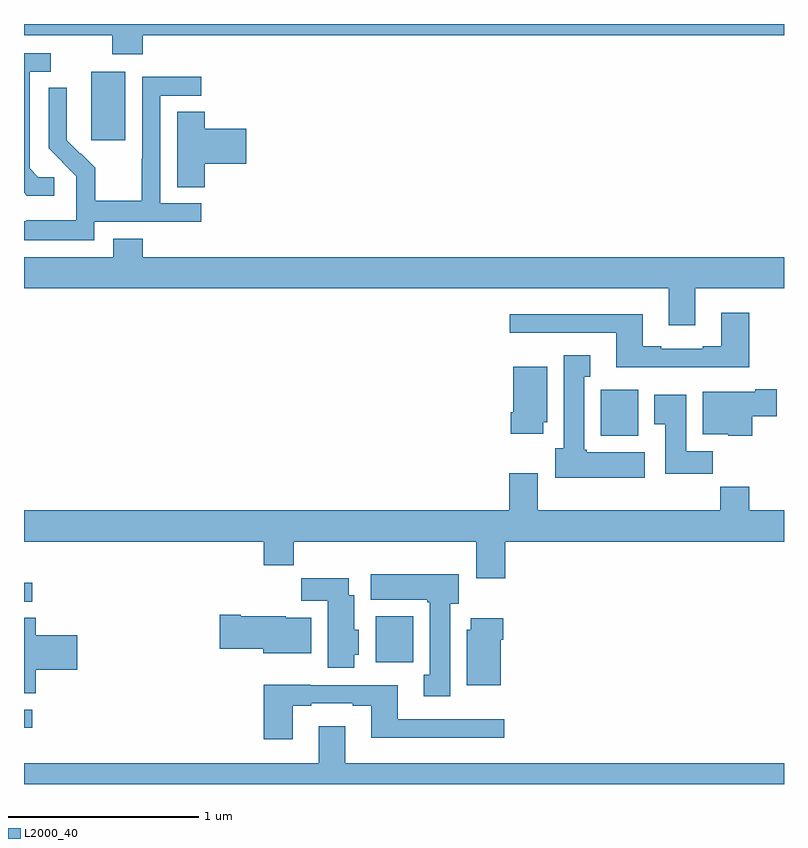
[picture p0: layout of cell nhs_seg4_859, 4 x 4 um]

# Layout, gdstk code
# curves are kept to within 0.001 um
import gdstk
lib = gdstk.Library(unit=1e-6, precision=1e-09)
def R(c, l, rs):  # rectangles x0, y0, x1, y1
    for r in rs: c.add(gdstk.rectangle(r[:2], r[2:], *l))
def P(c, l, *ps):  # polygons
    for p in ps: c.add(gdstk.Polygon(p, *l))
L2000_40 = (2000, 40)

nhs_seg4_859 = lib.new_cell('nhs_seg4_859')
R(nhs_seg4_859, L2000_40, [(155,773.196,155.044,773.292), (156.851,773.54,157.048,773.782), (155,773.859,155.044,773.958), (158.036,774.734,158.233,774.976), (155.354,776.289,155.533,776.65)])
P(nhs_seg4_859, L2000_40, [(155.624,776.84),(159,776.84),(159,776.9),(155,776.9),(155,776.84),(155.464,776.84),(155.464,776.741),(155.624,776.741)],
  [(155.158,776.094),(155.076,776.094),(155.029,776.141),(155.029,776.649),(155.14,776.649),(155.14,776.745),(155,776.745),(155,776.011),(155.014,775.997),(155.158,775.997)],
  [(155.37,775.86),(155.932,775.86),(155.932,775.956),(155.718,775.956),(155.718,776.523),(155.932,776.523),(155.932,776.622),(155.622,776.622),(155.622,776.192),(155.62,776.192),(155.62,775.969),(155.375,775.969),(155.375,776.143),(155.298,776.22),(155.295,776.217),(155.225,776.288),(155.226,776.564),(155.13,776.564),(155.13,776.246),(155.276,776.098),(155.276,776.001),(155.274,776.001),(155.274,775.867),(155.011,775.867),(155.011,775.863),(155,775.863),(155,775.763),(155.37,775.763)],
  [(155.951,776.165),(156.169,776.165),(156.169,776.348),(155.951,776.348),(155.951,776.438),(155.807,776.438),(155.807,776.041),(155.951,776.041)],
  [(158.533,775.508),(159,775.508),(159,775.672),(155.624,775.672),(155.624,775.771),(155.471,775.771),(155.471,775.672),(155,775.672),(155,775.508),(158.393,775.508),(158.393,775.314),(158.533,775.314)],
  [(158.817,775.381),(158.669,775.381),(158.669,775.204),(158.573,775.204),(158.573,775.191),(158.353,775.191),(158.353,775.204),(158.257,775.204),(158.257,775.372),(157.557,775.372),(157.557,775.275),(158.117,775.275),(158.117,775.094),(158.817,775.094)],
  [(158.266,774.646),(157.962,774.646),(157.962,774.66),(157.948,774.66),(157.948,775.043),(157.981,775.043),(157.981,775.156),(157.841,775.156),(157.841,774.666),(157.796,774.666),(157.796,774.512),(158.266,774.512)],
  [(157.732,774.804),(157.753,774.804),(157.753,775.096),(157.574,775.096),(157.574,774.856),(157.562,774.856),(157.562,774.744),(157.732,774.744)],
  [(158.832,774.835),(158.962,774.835),(158.962,774.977),(158.849,774.977),(158.849,774.964),(158.573,774.964),(158.573,774.74),(158.706,774.74),(158.706,774.734),(158.832,774.734)],
  [(158.624,774.652),(158.485,774.652),(158.485,774.949),(158.318,774.949),(158.318,774.793),(158.375,774.793),(158.375,774.534),(158.624,774.534)],
  [(157.532,774.176),(159,774.176),(159,774.34),(158.817,774.34),(158.817,774.464),(158.665,774.464),(158.665,774.34),(157.705,774.34),(157.705,774.535),(157.553,774.535),(157.553,774.34),(155,774.34),(155,774.176),(156.263,774.176),(156.263,774.052),(156.419,774.052),(156.419,774.176),(157.379,774.176),(157.379,773.982),(157.532,773.982)],
  [(157.243,773.85),(157.288,773.85),(157.288,774.004),(156.824,774.004),(156.824,773.87),(157.123,773.87),(157.123,773.857),(157.136,773.857),(157.136,773.474),(157.103,773.474),(157.103,773.361),(157.243,773.361)],
  [(156.739,773.58),(156.763,773.58),(156.763,773.712),(156.739,773.712),(156.739,773.893),(156.709,773.893),(156.709,773.983),(156.46,773.983),(156.46,773.864),(156.599,773.864),(156.599,773.513),(156.739,773.513)],
  [(156.511,773.776),(156.378,773.776),(156.378,773.782),(156.142,773.782),(156.142,773.79),(156.03,773.79),(156.03,773.612),(156.26,773.612),(156.26,773.588),(156.511,773.588)],
  [(155.063,773.501),(155.281,773.501),(155.281,773.684),(155.063,773.684),(155.063,773.774),(155,773.774),(155,773.377),(155.063,773.377)],
  [(157.51,773.66),(157.523,773.66),(157.523,773.773),(157.352,773.773),(157.352,773.712),(157.331,773.712),(157.331,773.42),(157.51,773.42)],
  [(156.415,773.313),(156.511,773.313),(156.511,773.325),(156.731,773.325),(156.731,773.313),(156.827,773.313),(156.827,773.144),(157.528,773.144),(157.528,773.241),(156.967,773.241),(156.967,773.421),(156.507,773.421),(156.507,773.422),(156.263,773.422),(156.263,773.136),(156.415,773.136)],
  [(159,773.008),(156.691,773.008),(156.691,773.203),(156.551,773.203),(156.551,773.008),(155,773.008),(155,772.9),(159,772.9)])

lib.write_gds('nhs_seg4_859.gds')
